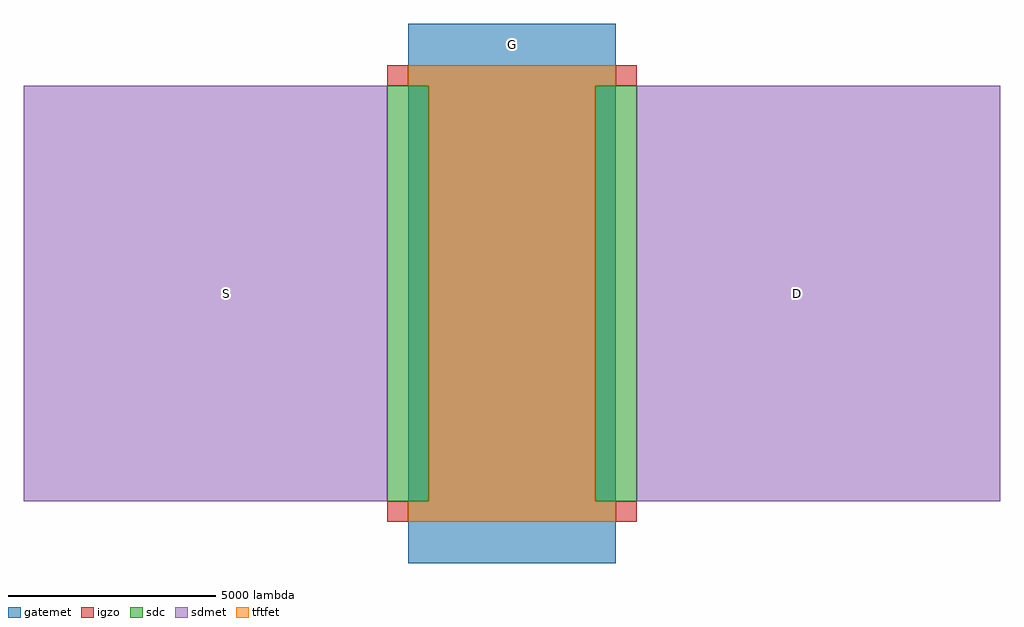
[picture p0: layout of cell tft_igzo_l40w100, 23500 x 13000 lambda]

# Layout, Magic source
magic
tech igzo_mmm_lab
<< igzo >>
rect -3000 5000 -2500 5500
rect 2500 5000 3000 5500
rect -3000 -5500 -2500 -5000
rect 2500 -5500 3000 -5000
<< tftfet >>
rect -2500 5000 2500 5500
rect -2000 -5000 2000 5000
rect -2500 -5500 2500 -5000
<< sdc >>
rect -3000 -5000 -2000 5000
rect 2000 -5000 3000 5000
<< sdmet >>
rect -11750 -5000 -3000 5000
rect 3000 -5000 11750 5000
<< gatemet >>
rect -2500 -6500 2500 6500
<< labels >>
rlabel sdmet s -7363 -488 -6387 488 4 S
port 3 nsew
rlabel sdmet s 6387 -488 7363 488 4 D
port 5 nsew
rlabel gatemet s -488 5512 488 6488 4 G
port 7 nsew
<< end >>
